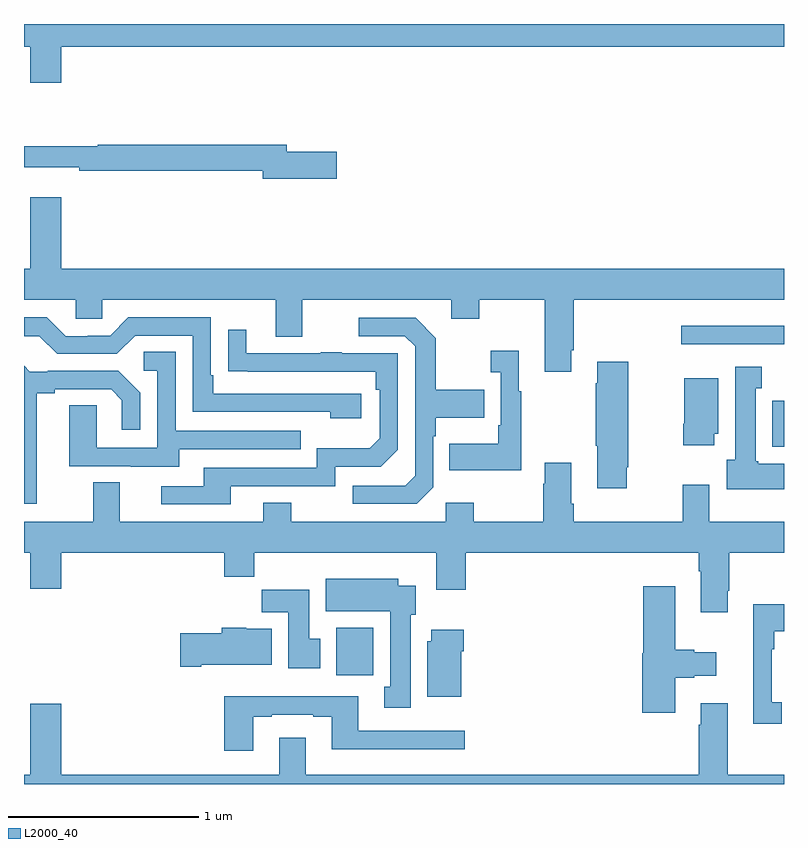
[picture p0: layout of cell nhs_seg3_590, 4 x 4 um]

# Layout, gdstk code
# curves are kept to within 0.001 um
import gdstk
lib = gdstk.Library(unit=1e-6, precision=1e-09)
def R(c, l, rs):  # rectangles x0, y0, x1, y1
    for r in rs: c.add(gdstk.rectangle(r[:2], r[2:], *l))
def P(c, l, *ps):  # polygons
    for p in ps: c.add(gdstk.Polygon(p, *l))
L2000_40 = (2000, 40)

nhs_seg3_590 = lib.new_cell('nhs_seg3_590')
R(nhs_seg3_590, L2000_40, [(142.643,666.972,142.839,667.222), (144.938,668.174,145,668.416), (144.459,668.715,145,668.812)])
P(nhs_seg3_590, L2000_40, [(141.196,670.28),(145,670.28),(145,670.4),(141,670.4),(141,670.28),(141.032,670.28),(141.032,670.092),(141.196,670.092)],
  [(142.645,669.728),(142.384,669.728),(142.384,669.764),(141.387,669.764),(141.387,669.757),(141,669.757),(141,669.647),(141.292,669.647),(141.292,669.628),(142.256,669.628),(142.256,669.586),(142.645,669.586)],
  [(143.881,668.683),(143.894,668.683),(143.894,668.948),(145,668.948),(145,669.112),(141.196,669.112),(141.196,669.487),(141.032,669.487),(141.032,669.112),(141,669.112),(141,668.948),(141.273,668.948),(141.273,668.85),(141.411,668.85),(141.411,668.948),(142.325,668.948),(142.325,668.754),(142.465,668.754),(142.465,668.948),(143.249,668.948),(143.249,668.849),(143.397,668.849),(143.397,668.948),(143.741,668.948),(143.741,668.571),(143.881,668.571)],
  [(142.774,668.454),(141.997,668.454),(141.997,668.551),(141.984,668.551),(141.984,668.856),(141.549,668.856),(141.453,668.76),(141.335,668.76),(141.335,668.757),(141.219,668.757),(141.119,668.857),(141,668.857),(141,668.757),(141.081,668.757),(141.174,668.664),(141.489,668.664),(141.585,668.76),(141.888,668.76),(141.888,668.358),(142.613,668.358),(142.613,668.324),(142.774,668.324)],
  [(143.154,667.962),(143.154,668.231),(143.167,668.231),(143.167,668.327),(143.423,668.327),(143.423,668.475),(143.167,668.475),(143.167,668.747),(143.061,668.853),(142.761,668.853),(142.761,668.757),(143.004,668.757),(143.058,668.703),(143.058,668.022),(143.007,667.971),(142.731,667.971),(142.731,667.875),(143.067,667.875)],
  [(142.087,667.968),(142.638,667.968),(142.638,668.07),(142.878,668.07),(142.968,668.16),(142.968,668.667),(142.673,668.667),(142.673,668.672),(142.561,668.672),(142.561,668.667),(142.171,668.667),(142.171,668.791),(142.075,668.791),(142.075,668.572),(142.852,668.571),(142.852,668.474),(142.872,668.474),(142.872,668.22),(142.819,668.167),(142.542,668.167),(142.542,668.064),(141.947,668.064),(141.947,667.968),(141.723,667.968),(141.723,667.872),(142.087,667.872)],
  [(143.617,668.467),(143.605,668.467),(143.605,668.68),(143.457,668.68),(143.457,668.567),(143.508,668.567),(143.508,668.287),(143.496,668.287),(143.496,668.191),(143.239,668.191),(143.239,668.051),(143.617,668.051)],
  [(141.817,668.163),(142.457,668.163),(142.457,668.259),(141.798,668.259),(141.798,668.675),(141.63,668.675),(141.63,668.574),(141.702,668.574),(141.702,668.169),(141.384,668.169),(141.384,668.393),(141.239,668.393),(141.239,668.073),(141.563,668.073),(141.563,668.069),(141.817,668.069)],
  [(144.172,668.068),(144.18,668.068),(144.18,668.623),(144.017,668.623),(144.017,668.51),(144.01,668.51),(144.01,668.179),(144.017,668.179),(144.017,667.956),(144.172,667.956)],
  [(141.067,668.456),(141.163,668.456),(141.163,668.478),(141.458,668.478),(141.515,668.421),(141.515,668.265),(141.612,668.265),(141.612,668.458),(141.496,668.574),(141.124,668.574),(141.124,668.571),(141.03,668.571),(141,668.601),(141,667.875),(141.067,667.875)],
  [(145,668.086),(144.864,668.086),(144.864,668.1),(144.85,668.1),(144.85,668.483),(144.883,668.483),(144.883,668.596),(144.743,668.596),(144.743,668.106),(144.698,668.106),(144.698,667.952),(145,667.952)],
  [(144.634,668.244),(144.655,668.244),(144.655,668.536),(144.476,668.536),(144.476,668.296),(144.469,668.296),(144.469,668.184),(144.634,668.184)],
  [(144.551,667.52),(144.563,667.52),(144.563,667.305),(144.703,667.305),(144.703,667.417),(144.711,667.417),(144.711,667.616),(145,667.616),(145,667.78),(144.607,667.78),(144.607,667.975),(144.467,667.975),(144.467,667.78),(143.894,667.78),(143.894,667.876),(143.881,667.876),(143.881,668.092),(143.741,668.092),(143.741,667.979),(143.734,667.979),(143.734,667.78),(143.367,667.78),(143.367,667.879),(143.22,667.879),(143.22,667.78),(142.407,667.78),(142.407,667.879),(142.259,667.879),(142.259,667.78),(141.505,667.78),(141.505,667.988),(141.365,667.988),(141.365,667.78),(141,667.78),(141,667.616),(141.032,667.616),(141.032,667.428),(141.196,667.428),(141.196,667.616),(142.055,667.616),(142.055,667.492),(142.211,667.492),(142.211,667.616),(143.171,667.616),(143.171,667.422),(143.324,667.422),(143.324,667.616),(144.551,667.616)],
  [(143.035,667.29),(143.062,667.29),(143.062,667.444),(142.969,667.444),(142.969,667.48),(142.589,667.48),(142.589,667.31),(142.928,667.31),(142.928,666.913),(142.895,666.913),(142.895,666.801),(143.035,666.801)],
  [(144.427,666.959),(144.527,666.959),(144.527,666.971),(144.643,666.971),(144.643,667.093),(144.527,667.093),(144.527,667.106),(144.427,667.106),(144.427,667.441),(144.26,667.441),(144.26,667.089),(144.254,667.089),(144.254,666.774),(144.427,666.774)],
  [(142.558,667.164),(142.501,667.164),(142.501,667.422),(142.252,667.422),(142.252,667.304),(142.391,667.304),(142.391,667.008),(142.558,667.008)],
  [(144.988,666.83),(144.936,666.83),(144.936,667.109),(144.949,667.109),(144.949,667.205),(145,667.205),(145,667.345),(144.839,667.345),(144.839,666.717),(144.988,666.717)],
  [(141.934,667.028),(142.303,667.028),(142.303,667.216),(142.17,667.216),(142.17,667.222),(142.04,667.222),(142.04,667.194),(141.822,667.194),(141.822,667.016),(141.934,667.016)],
  [(143.302,667.1),(143.315,667.1),(143.315,667.213),(143.144,667.213),(143.144,667.152),(143.123,667.152),(143.123,666.86),(143.302,666.86)],
  [(142.207,666.753),(142.303,666.753),(142.303,666.765),(142.523,666.765),(142.523,666.753),(142.619,666.753),(142.619,666.584),(143.32,666.584),(143.32,666.681),(142.759,666.681),(142.759,666.862),(142.055,666.862),(142.055,666.576),(142.207,666.576)],
  [(145,666.448),(144.703,666.448),(144.703,666.826),(144.563,666.826),(144.563,666.713),(144.551,666.713),(144.551,666.448),(142.483,666.448),(142.483,666.643),(142.343,666.643),(142.343,666.448),(141.196,666.448),(141.196,666.823),(141.032,666.823),(141.032,666.448),(141,666.448),(141,666.4),(145,666.4)])

lib.write_gds('nhs_seg3_590.gds')
